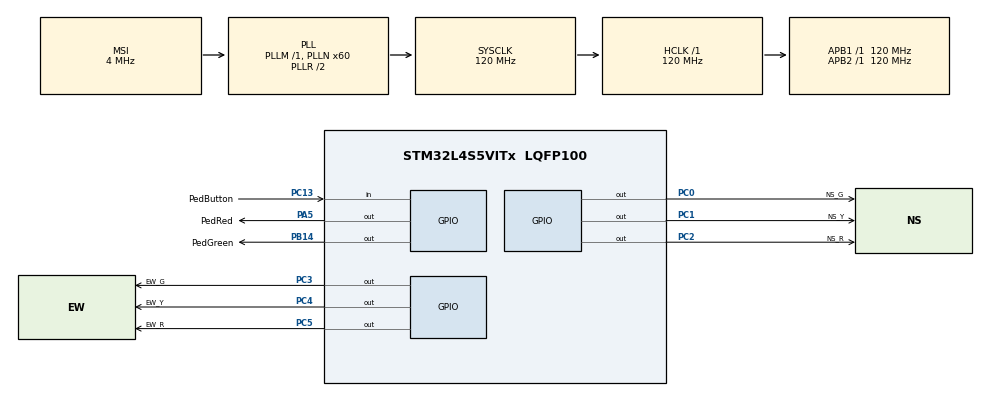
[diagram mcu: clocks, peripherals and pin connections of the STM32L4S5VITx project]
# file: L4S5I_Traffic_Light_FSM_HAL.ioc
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Mcu.Family=STM32L4
Mcu.Name=STM32L4S5VITx
Mcu.Package=LQFP100
NVIC.PriorityGroup=NVIC_PRIORITYGROUP_4
PA5.GPIO_Label=PedRed
PA5.Signal=GPIO_Output
PB14.GPIO_Label=PedGreen
PB14.Signal=GPIO_Output
PC0.GPIO_Label=NS_G
PC0.Signal=GPIO_Output
PC1.GPIO_Label=NS_Y
PC1.Signal=GPIO_Output
PC13.GPIO_Label=PedButton
PC13.GPIO_PuPd=GPIO_PULLUP
PC13.Signal=GPIO_Input
PC2.GPIO_Label=NS_R
PC2.Signal=GPIO_Output
PC3.GPIO_Label=EW_G
PC3.Signal=GPIO_Output
PC4.GPIO_Label=EW_Y
PC4.Signal=GPIO_Output
PC5.GPIO_Label=EW_R
PC5.Signal=GPIO_Output
ProjectManager.HeapSize=0x200
ProjectManager.StackSize=0x400
ProjectManager.TargetToolchain=STM32CubeIDE
RCC.ADCFreq_Value=48000000
RCC.AHBFreq_Value=120000000
RCC.APB1Freq_Value=120000000
RCC.APB1TimFreq_Value=120000000
RCC.APB2Freq_Value=120000000
RCC.APB2TimFreq_Value=120000000
RCC.CortexFreq_Value=120000000
RCC.HCLKFreq_Value=120000000
RCC.HSE_VALUE=8000000
RCC.HSI48_VALUE=48000000
RCC.HSI_VALUE=16000000
RCC.LSE_VALUE=32768
RCC.MSI_VALUE=4000000
RCC.PLLN=60
RCC.PLLSAI1N=24
RCC.SYSCLKFreq_VALUE=120000000
RCC.SYSCLKSource=RCC_SYSCLKSOURCE_PLLCLK
RCC.USBFreq_Value=48000000
RCC.VCOOutputFreq_Value=240000000
board=B-L4S5I-IOT01A

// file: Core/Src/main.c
/* USER CODE BEGIN Header */
/**
  ******************************************************************************
  * @file           : main.c
  * @brief          : Main program body
  ******************************************************************************
  * @attention
  *
  * Copyright (c) 2025 STMicroelectronics.
  * All rights reserved.
  *
  * This software is licensed under terms that can be found in the LICENSE file
  * in the root directory of this software component.
  * If no LICENSE file comes with this software, it is provided AS-IS.
  *
  ******************************************************************************
  */
/* USER CODE END Header */
#include "main.h"

/* USER CODE BEGIN Includes */
#include <stdbool.h>
/* USER CODE END Includes */

void SystemClock_Config(void);
static void MX_GPIO_Init(void);

int main(void)
{

  /* MCU Configuration--------------------------------------------------------*/

  /* Reset of all peripherals, Initializes the Flash interface and the Systick. */
  HAL_Init();

  /* Configure the system clock */
  SystemClock_Config();

  /* Initialize all configured peripherals */
  MX_GPIO_Init();
  /* USER CODE BEGIN 2 */
  /* initially, turn on NS green, EW red, and ped_red. Turn off all other LEDs */
  /*all other LEDs were turned OFF by MX_GPIO_Init()*/
  HAL_GPIO_WritePin(GPIOC, NS_G_Pin|EW_R_Pin, GPIO_PIN_SET);
  HAL_GPIO_WritePin(PedRed_GPIO_Port, PedRed_Pin, GPIO_PIN_SET);
  uint32_t timeTracker = HAL_GetTick()+20000, waitingPeriod=0, debouncePressPedSw=0, debounceReleasePedSw=0;
  typedef enum {
    s0,
    s1,
    s2,
    s3,
	s4,
    s5,
    s6,
    s7,
	s8,
	s9,
  } stateName;
  typedef struct {
    stateName state;
    uint32_t waitTime;
  } stateDef;
  stateDef states[]={
  {s0,15e3},
  {s1,3e3},
  {s2,3e3},
  {s3,15e3},
  {s4,3e3},
  {s5,15e3},
  {s6,3e3},
  {s7,3e3},
  {s8,15e3},
  {s9,3e3}
  };
  stateName stateIndx = s0;
  typedef enum {
  REQUISTED,
  UNREQUISTED,
  } pedStatus;
  pedStatus pedSwitch=UNREQUISTED;
  bool acceptNewPedReq=1;
  /* USER CODE END 2 */

  /* Infinite loop */
  while (1)
  {
	/******************************************************/
    /******************* read pedButton *******************/
    if(acceptNewPedReq && !debouncePressPedSw && !HAL_GPIO_ReadPin(PedButton_GPIO_Port, PedButton_Pin))
    {
      //debounce
    	debouncePressPedSw = HAL_GetTick();
    }
    if(debouncePressPedSw && HAL_GetTick() - debouncePressPedSw > 50)
    {
    	// if button is still pressed
    	if(!HAL_GPIO_ReadPin(PedButton_GPIO_Port, PedButton_Pin))
    	{
    		pedSwitch = REQUISTED;
    		acceptNewPedReq=0;
    	}
    	debouncePressPedSw=0;
    }
    // PedSw must be released for a debounce period
    if(!acceptNewPedReq && HAL_GPIO_ReadPin(PedButton_GPIO_Port, PedButton_Pin))
    {
    	if(!debounceReleasePedSw) debounceReleasePedSw =  HAL_GetTick();
    	if(HAL_GetTick() - debounceReleasePedSw > 50)
    	{
    		acceptNewPedReq = 1;
    		debounceReleasePedSw=0;
    	}
    }
    /******************************************************/
    /****************** change state **********************/
    if(HAL_GetTick() - timeTracker > waitingPeriod)
    {
    	timeTracker = HAL_GetTick();
      switch(stateIndx)
      {
        case s0: // NSG
          // turn off all other LEDs
          HAL_GPIO_WritePin(PedGreen_GPIO_Port, PedGreen_Pin, GPIO_PIN_RESET);
          HAL_GPIO_WritePin(GPIOC,NS_G_Pin|NS_Y_Pin|NS_R_Pin|EW_G_Pin|EW_Y_Pin|EW_R_Pin, GPIO_PIN_RESET);
          // turn ON NS_G_Pin, EW_R_Pin, and PedRed_Pin
          HAL_GPIO_WritePin(GPIOC,
        		  NS_G_Pin
//				  |
//				  NS_Y_Pin
//				  |
//				  NS_R_Pin
//				  |
//				  EW_G_Pin
//				  |
//				  EW_Y_Pin
				  |
				  EW_R_Pin
        		  , GPIO_PIN_SET);
          HAL_GPIO_WritePin(PedRed_GPIO_Port, PedRed_Pin, GPIO_PIN_SET);
          // set current waiting period
          waitingPeriod = states[stateIndx].waitTime;
          // set next state
          stateIndx=s1; // next
          break;
        case s1: // NSY
          // turn off all other LEDs
            HAL_GPIO_WritePin(PedGreen_GPIO_Port, PedGreen_Pin, GPIO_PIN_RESET);
            HAL_GPIO_WritePin(GPIOC,NS_G_Pin|NS_Y_Pin|NS_R_Pin|EW_G_Pin|EW_Y_Pin|EW_R_Pin, GPIO_PIN_RESET);
          // turn ON NS_G_Pin, EW_R_Pin, and PedRed_Pin
            HAL_GPIO_WritePin(GPIOC,
//          		  NS_G_Pin
//  				  |
  				  NS_Y_Pin
//  				  |
//  				  NS_R_Pin
//  				  |
//  				  EW_G_Pin
//  				  |
//  				  EW_Y_Pin
  				  |
  				  EW_R_Pin
          		  , GPIO_PIN_SET);
          HAL_GPIO_WritePin(PedRed_GPIO_Port, PedRed_Pin, GPIO_PIN_SET);
          // set current waiting period
          waitingPeriod = states[stateIndx].waitTime;
          // set next state
          stateIndx=s2; // next
          break;
        case s2: // NSR
          // turn off all other LEDs
            HAL_GPIO_WritePin(PedGreen_GPIO_Port, PedGreen_Pin, GPIO_PIN_RESET);
            HAL_GPIO_WritePin(GPIOC,NS_G_Pin|NS_Y_Pin|NS_R_Pin|EW_G_Pin|EW_Y_Pin|EW_R_Pin, GPIO_PIN_RESET);
          // turn ON NS_G_Pin, EW_R_Pin, and PedRed_Pin
            HAL_GPIO_WritePin(GPIOC,
//          		  NS_G_Pin
//  				  |
//  				  NS_Y_Pin
//  				  |
  				  NS_R_Pin
//  				  |
//  				  EW_G_Pin
//  				  |
//  				  EW_Y_Pin
  				  |
  				  EW_R_Pin
          		  , GPIO_PIN_SET);
            HAL_GPIO_WritePin(PedRed_GPIO_Port, PedRed_Pin, GPIO_PIN_SET);
          // set current waiting period
          waitingPeriod = states[stateIndx].waitTime;
          // set next state
          // check ped switch
          if(pedSwitch == REQUISTED) {stateIndx=s3;} // next
          else {stateIndx=s5;} // next
          break;
        case s5: // EWG
            // turn off all other LEDs
              HAL_GPIO_WritePin(PedGreen_GPIO_Port, PedGreen_Pin, GPIO_PIN_RESET);
              HAL_GPIO_WritePin(GPIOC,NS_G_Pin|NS_Y_Pin|NS_R_Pin|EW_G_Pin|EW_Y_Pin|EW_R_Pin, GPIO_PIN_RESET);
            // turn ON NS_G_Pin, EW_R_Pin, and PedRed_Pin
              HAL_GPIO_WritePin(GPIOC,
  //          		  NS_G_Pin
  //  				  |
  //  				  NS_Y_Pin
  //  				  |
    				  NS_R_Pin
    				  |
    				  EW_G_Pin
  //  				  |
  //  				  EW_Y_Pin
//    				  |
//    				  EW_R_Pin
            		  , GPIO_PIN_SET);
              HAL_GPIO_WritePin(PedRed_GPIO_Port, PedRed_Pin, GPIO_PIN_SET);
          // set current waiting period
          waitingPeriod = states[stateIndx].waitTime;
          // set next state
          stateIndx=s6; // next
          break;
        case s6: // EWY
            // turn off all other LEDs
              HAL_GPIO_WritePin(PedGreen_GPIO_Port, PedGreen_Pin, GPIO_PIN_RESET);
              HAL_GPIO_WritePin(GPIOC,NS_G_Pin|NS_Y_Pin|NS_R_Pin|EW_G_Pin|EW_Y_Pin|EW_R_Pin, GPIO_PIN_RESET);
            // turn ON NS_G_Pin, EW_R_Pin, and PedRed_Pin
              HAL_GPIO_WritePin(GPIOC,
  //          		  NS_G_Pin
  //  				  |
  //  				  NS_Y_Pin
  //  				  |
    				  NS_R_Pin
//    				  |
//    				  EW_G_Pin
    				  |
    				  EW_Y_Pin
//    				  |
//    				  EW_R_Pin
            		  , GPIO_PIN_SET);
              HAL_GPIO_WritePin(PedRed_GPIO_Port, PedRed_Pin, GPIO_PIN_SET);
		  // set current waiting period
		  waitingPeriod = states[stateIndx].waitTime;
			// set next state
			stateIndx=s7; // next
          break;
        case s7: // EWR
            // turn off all other LEDs
              HAL_GPIO_WritePin(PedGreen_GPIO_Port, PedGreen_Pin, GPIO_PIN_RESET);
              HAL_GPIO_WritePin(GPIOC,NS_G_Pin|NS_Y_Pin|NS_R_Pin|EW_G_Pin|EW_Y_Pin|EW_R_Pin, GPIO_PIN_RESET);
            // turn ON NS_G_Pin, EW_R_Pin, and PedRed_Pin
              HAL_GPIO_WritePin(GPIOC,
  //          		  NS_G_Pin
  //  				  |
  //  				  NS_Y_Pin
  //  				  |
    				  NS_R_Pin
//    				  |
//    				  EW_G_Pin
//    				  |
//    				  EW_Y_Pin
    				  |
    				  EW_R_Pin
            		  , GPIO_PIN_SET);
              HAL_GPIO_WritePin(PedRed_GPIO_Port, PedRed_Pin, GPIO_PIN_SET);
          // set current waiting period
          waitingPeriod = states[stateIndx].waitTime;
		  // set next state
		  // check ped switch
		  if(pedSwitch == REQUISTED) {stateIndx=s8;} // next
		  else {stateIndx=s0;} // next
          break;
        case s3: // PedG
        case s8: // PedG
            // turn off all other LEDs
            HAL_GPIO_WritePin(PedRed_GPIO_Port, PedRed_Pin, GPIO_PIN_RESET);
              HAL_GPIO_WritePin(GPIOC,NS_G_Pin|NS_Y_Pin|NS_R_Pin|EW_G_Pin|EW_Y_Pin|EW_R_Pin, GPIO_PIN_RESET);
            // turn ON NS_G_Pin, EW_R_Pin, and PedRed_Pin
              HAL_GPIO_WritePin(GPIOC,
  //          		  NS_G_Pin
  //  				  |
  //  				  NS_Y_Pin
  //  				  |
    				  NS_R_Pin
//    				  |
//    				  EW_G_Pin
//    				  |
//    				  EW_Y_Pin
    				  |
    				  EW_R_Pin
            		  , GPIO_PIN_SET);
              HAL_GPIO_WritePin(PedGreen_GPIO_Port, PedGreen_Pin, GPIO_PIN_SET);
          // set current waiting period
          waitingPeriod = states[stateIndx].waitTime;
          // set next state
          stateIndx = stateIndx==s3 ? s4 : s9;
          pedSwitch=UNREQUISTED;
          break;
        case s4: // All red
        case s9: // All red
            // turn off all other LEDs
              HAL_GPIO_WritePin(PedGreen_GPIO_Port, PedGreen_Pin, GPIO_PIN_RESET);
              HAL_GPIO_WritePin(GPIOC,NS_G_Pin|NS_Y_Pin|NS_R_Pin|EW_G_Pin|EW_Y_Pin|EW_R_Pin, GPIO_PIN_RESET);
            // turn ON NS_G_Pin, EW_R_Pin, and PedRed_Pin
              HAL_GPIO_WritePin(GPIOC,
  //          		  NS_G_Pin
  //  				  |
  //  				  NS_Y_Pin
  //  				  |
    				  NS_R_Pin
//    				  |
//    				  EW_G_Pin
//    				  |
//    				  EW_Y_Pin
    				  |
    				  EW_R_Pin
            		  , GPIO_PIN_SET);
              HAL_GPIO_WritePin(PedRed_GPIO_Port, PedRed_Pin, GPIO_PIN_SET);
          // set current waiting period
          waitingPeriod = states[stateIndx].waitTime;
		  // set next state
//          stateIndx=s0;
          stateIndx = stateIndx==s9 ? s0 : s5;
          break;
        default:
            break;
      }
    }
  }
}

void SystemClock_Config(void)
{
  RCC_OscInitTypeDef RCC_OscInitStruct = {0};
  RCC_ClkInitTypeDef RCC_ClkInitStruct = {0};

  /** Configure the main internal regulator output voltage
  */
  if (HAL_PWREx_ControlVoltageScaling(PWR_REGULATOR_VOLTAGE_SCALE1_BOOST) != HAL_OK)
  {
    Error_Handler();
  }

  /** Initializes the RCC Oscillators according to the specified parameters
  * in the RCC_OscInitTypeDef structure.
  */
  RCC_OscInitStruct.OscillatorType = RCC_OSCILLATORTYPE_MSI;
  RCC_OscInitStruct.MSIState = RCC_MSI_ON;
  RCC_OscInitStruct.MSICalibrationValue = 0;
  RCC_OscInitStruct.MSIClockRange = RCC_MSIRANGE_6;
  RCC_OscInitStruct.PLL.PLLState = RCC_PLL_ON;
  RCC_OscInitStruct.PLL.PLLSource = RCC_PLLSOURCE_MSI;
  RCC_OscInitStruct.PLL.PLLM = 1;
  RCC_OscInitStruct.PLL.PLLN = 60;
  RCC_OscInitStruct.PLL.PLLP = RCC_PLLP_DIV2;
  RCC_OscInitStruct.PLL.PLLQ = RCC_PLLQ_DIV2;
  RCC_OscInitStruct.PLL.PLLR = RCC_PLLR_DIV2;
  if (HAL_RCC_OscConfig(&RCC_OscInitStruct) != HAL_OK)
  {
    Error_Handler();
  }

  /** Initializes the CPU, AHB and APB buses clocks
  */
  RCC_ClkInitStruct.ClockType = RCC_CLOCKTYPE_HCLK|RCC_CLOCKTYPE_SYSCLK
                              |RCC_CLOCKTYPE_PCLK1|RCC_CLOCKTYPE_PCLK2;
  RCC_ClkInitStruct.SYSCLKSource = RCC_SYSCLKSOURCE_PLLCLK;
  RCC_ClkInitStruct.AHBCLKDivider = RCC_SYSCLK_DIV1;
  RCC_ClkInitStruct.APB1CLKDivider = RCC_HCLK_DIV1;
  RCC_ClkInitStruct.APB2CLKDivider = RCC_HCLK_DIV1;

  if (HAL_RCC_ClockConfig(&RCC_ClkInitStruct, FLASH_LATENCY_5) != HAL_OK)
  {
    Error_Handler();
  }
}

static void MX_GPIO_Init(void)
{
  GPIO_InitTypeDef GPIO_InitStruct = {0};

  /* GPIO Ports Clock Enable */
  __HAL_RCC_GPIOC_CLK_ENABLE();
  __HAL_RCC_GPIOA_CLK_ENABLE();
  __HAL_RCC_GPIOB_CLK_ENABLE();

  /*Configure GPIO pin Output Level */
  HAL_GPIO_WritePin(GPIOC, NS_G_Pin|NS_Y_Pin|NS_R_Pin|EW_G_Pin
                          |EW_Y_Pin|EW_R_Pin, GPIO_PIN_RESET);

  /*Configure GPIO pin Output Level */
  HAL_GPIO_WritePin(PedRed_GPIO_Port, PedRed_Pin, GPIO_PIN_RESET);

  /*Configure GPIO pin Output Level */
  HAL_GPIO_WritePin(PedGreen_GPIO_Port, PedGreen_Pin, GPIO_PIN_RESET);

  /*Configure GPIO pin : PedButton_Pin */
  GPIO_InitStruct.Pin = PedButton_Pin;
  GPIO_InitStruct.Mode = GPIO_MODE_INPUT;
  GPIO_InitStruct.Pull = GPIO_PULLUP;
  HAL_GPIO_Init(PedButton_GPIO_Port, &GPIO_InitStruct);

  /*Configure GPIO pins : NS_G_Pin NS_Y_Pin NS_R_Pin EW_G_Pin
                           EW_Y_Pin EW_R_Pin */
  GPIO_InitStruct.Pin = NS_G_Pin|NS_Y_Pin|NS_R_Pin|EW_G_Pin
                          |EW_Y_Pin|EW_R_Pin;
  GPIO_InitStruct.Mode = GPIO_MODE_OUTPUT_PP;
  GPIO_InitStruct.Pull = GPIO_NOPULL;
  GPIO_InitStruct.Speed = GPIO_SPEED_FREQ_LOW;
  HAL_GPIO_Init(GPIOC, &GPIO_InitStruct);

  /*Configure GPIO pin : PedRed_Pin */
  GPIO_InitStruct.Pin = PedRed_Pin;
  GPIO_InitStruct.Mode = GPIO_MODE_OUTPUT_PP;
  GPIO_InitStruct.Pull = GPIO_NOPULL;
  GPIO_InitStruct.Speed = GPIO_SPEED_FREQ_LOW;
  HAL_GPIO_Init(PedRed_GPIO_Port, &GPIO_InitStruct);

  /*Configure GPIO pin : PedGreen_Pin */
  GPIO_InitStruct.Pin = PedGreen_Pin;
  GPIO_InitStruct.Mode = GPIO_MODE_OUTPUT_PP;
  GPIO_InitStruct.Pull = GPIO_NOPULL;
  GPIO_InitStruct.Speed = GPIO_SPEED_FREQ_LOW;
  HAL_GPIO_Init(PedGreen_GPIO_Port, &GPIO_InitStruct);

}

void Error_Handler(void)
{
  __disable_irq();
  while (1)
  {
  }
}
